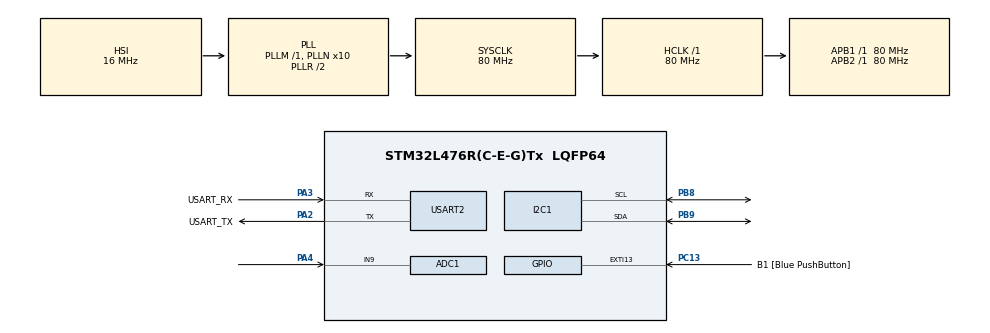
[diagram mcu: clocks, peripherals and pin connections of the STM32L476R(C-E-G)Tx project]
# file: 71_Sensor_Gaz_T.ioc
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ADC1.Channel-0\#ChannelRegularConversion=ADC_CHANNEL_9
ADC1.ContinuousConvMode=ENABLE
ADC1.NbrOfConversionFlag=1
ADC1.OffsetNumber-0\#ChannelRegularConversion=ADC_OFFSET_NONE
ADC1.Rank-0\#ChannelRegularConversion=1
ADC1.SamplingTime-0\#ChannelRegularConversion=ADC_SAMPLETIME_2CYCLES_5
ADC1.master=1
Mcu.Family=STM32L4
Mcu.Name=STM32L476R(C-E-G)Tx
Mcu.Package=LQFP64
NVIC.ADC1_2_IRQn=true\:0\:0\:false\:false\:true\:true
NVIC.PriorityGroup=NVIC_PRIORITYGROUP_4
NVIC.TIM3_IRQn=true\:0\:0\:false\:false\:true\:true
PA13\ (JTMS-SWDIO).GPIO_Label=TMS
PA13\ (JTMS-SWDIO).Mode=Trace_Asynchronous_SW
PA13\ (JTMS-SWDIO).Signal=SYS_JTMS-SWDIO
PA14\ (JTCK-SWCLK).GPIO_Label=TCK
PA14\ (JTCK-SWCLK).Mode=Trace_Asynchronous_SW
PA14\ (JTCK-SWCLK).Signal=SYS_JTCK-SWCLK
PA2.GPIO_Label=USART_TX
PA2.GPIO_Mode=GPIO_MODE_AF_PP
PA2.GPIO_PuPd=GPIO_NOPULL
PA2.GPIO_Speed=GPIO_SPEED_FREQ_VERY_HIGH
PA2.Mode=Asynchronous
PA2.Signal=USART2_TX
PA3.GPIO_Label=USART_RX
PA3.GPIO_Mode=GPIO_MODE_AF_PP
PA3.GPIO_PuPd=GPIO_NOPULL
PA3.GPIO_Speed=GPIO_SPEED_FREQ_VERY_HIGH
PA3.Mode=Asynchronous
PA3.Signal=USART2_RX
PA4.Signal=ADCx_IN9
PB3\ (JTDO-TRACESWO).Mode=Trace_Asynchronous_SW
PB3\ (JTDO-TRACESWO).Signal=SYS_JTDO-SWO
PB8.Mode=I2C
PB8.Signal=I2C1_SCL
PB9.Mode=I2C
PB9.Signal=I2C1_SDA
PC13.GPIO_Label=B1 [Blue PushButton]
PC13.GPIO_ModeDefaultEXTI=GPIO_MODE_IT_FALLING
PC13.GPIO_PuPd=GPIO_NOPULL
PC13.Signal=GPXTI13
PC14-OSC32_IN\ (PC14).Mode=LSE-External-Oscillator
PC14-OSC32_IN\ (PC14).Signal=RCC_OSC32_IN
PC15-OSC32_OUT\ (PC15).Mode=LSE-External-Oscillator
PC15-OSC32_OUT\ (PC15).Signal=RCC_OSC32_OUT
PH0-OSC_IN\ (PH0).Signal=RCC_OSC_IN
PH1-OSC_OUT\ (PH1).Signal=RCC_OSC_OUT
ProjectManager.HeapSize=0x200
ProjectManager.StackSize=0x400
ProjectManager.TargetToolchain=TrueSTUDIO
RCC.ADCFreq_Value=64000000
RCC.AHBFreq_Value=80000000
RCC.APB1Freq_Value=80000000
RCC.APB1TimFreq_Value=80000000
RCC.APB2Freq_Value=80000000
RCC.APB2TimFreq_Value=80000000
RCC.CortexFreq_Value=80000000
RCC.HCLKFreq_Value=80000000
RCC.HSE_VALUE=8000000
RCC.HSI_VALUE=16000000
RCC.MSI_VALUE=4000000
RCC.PLLN=10
RCC.PLLSourceVirtual=RCC_PLLSOURCE_HSI
RCC.PREFETCH_ENABLE=1
RCC.SYSCLKFreq_VALUE=80000000
RCC.SYSCLKSource=RCC_SYSCLKSOURCE_PLLCLK
RCC.USBFreq_Value=64000000
RCC.VCOOutputFreq_Value=160000000
SH.ADCx_IN9.0=ADC1_IN9,IN9-Single-Ended
TIM3.Period=1000
TIM3.Prescaler=35999
USART2.VirtualMode-Asynchronous=VM_ASYNC
VP_TIM3_VS_ClockSourceINT.Mode=Internal
board=NUCLEO-L476RG

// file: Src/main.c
/* USER CODE BEGIN Header */
/**
  ******************************************************************************
  * @file           : main.c
  * @brief          : Main program body
  *
  *   		MQ-135 gaz sensor
  *    Put PA4 <-> D0 //digital
  * 	PA6 <-> A0 //analogue
  * 	GND
  * 	3,3V
  *
  *	    printf : run debug SWV
  * 	Utilisation avec putty; vérifier COM mettre sérial num COM et un nom au pif dans saved sessions, flow control:non; aller dans serial mettre bon COM et bon baud revenir init save
  *	    printf
  *
  *	    add IKSO1A2 : Temperature and Humidity
  *
  ******************************************************************************
  ** This notice applies to any and all portions of this file
  * that are not between comment pairs USER CODE BEGIN and
  * USER CODE END. Other portions of this file, whether
  * inserted by the user or by software development tools
  * are owned by their respective copyright owners.
  *
  * COPYRIGHT(c) 2019 STMicroelectronics
  *
  * Redistribution and use in source and binary forms, with or without modification,
  * are permitted provided that the following conditions are met:
  *   1. Redistributions of source code must retain the above copyright notice,
  *      this list of conditions and the following disclaimer.
  *   2. Redistributions in binary form must reproduce the above copyright notice,
  *      this list of conditions and the following disclaimer in the documentation
  *      and/or other materials provided with the distribution.
  *   3. Neither the name of STMicroelectronics nor the names of its contributors
  *      may be used to endorse or promote products derived from this software
  *      without specific prior written permission.
  *
  * THIS SOFTWARE IS PROVIDED BY THE COPYRIGHT HOLDERS AND CONTRIBUTORS "AS IS"
  * AND ANY EXPRESS OR IMPLIED WARRANTIES, INCLUDING, BUT NOT LIMITED TO, THE
  * IMPLIED WARRANTIES OF MERCHANTABILITY AND FITNESS FOR A PARTICULAR PURPOSE ARE
  * DISCLAIMED. IN NO EVENT SHALL THE COPYRIGHT HOLDER OR CONTRIBUTORS BE LIABLE
  * FOR ANY DIRECT, INDIRECT, INCIDENTAL, SPECIAL, EXEMPLARY, OR CONSEQUENTIAL
  * DAMAGES (INCLUDING, BUT NOT LIMITED TO, PROCUREMENT OF SUBSTITUTE GOODS OR
  * SERVICES; LOSS OF USE, DATA, OR PROFITS; OR BUSINESS INTERRUPTION) HOWEVER
  * CAUSED AND ON ANY THEORY OF LIABILITY, WHETHER IN CONTRACT, STRICT LIABILITY,
  * OR TORT (INCLUDING NEGLIGENCE OR OTHERWISE) ARISING IN ANY WAY OUT OF THE USE
  * OF THIS SOFTWARE, EVEN IF ADVISED OF THE POSSIBILITY OF SUCH DAMAGE.
  *
  ******************************************************************************
  */
/* USER CODE END Header */

#include "main.h"

/* USER CODE BEGIN Includes */
#include <stdio.h>
/* USER CODE END Includes */

/* USER CODE BEGIN PD */
#define I2C_TIMEOUT 1000
/* USER CODE END PD */

ADC_HandleTypeDef hadc1;

I2C_HandleTypeDef hi2c1;

TIM_HandleTypeDef htim3;

UART_HandleTypeDef huart2;

/* USER CODE BEGIN PV */
//ADC for gaz sensor
static  uint16_t valeurADC = 0;

//I2C
uint8_t sub_addr_who_am_i[1]={0x0F}; //Who AM I
uint8_t who_am_i[1]={0x00};

//TEMPERATURE/////////////////////////////////////////////////////////////////////////////////////////////////////

uint8_t addr_T0_degC_x8[1]={0x32};
uint8_t addr_T1_degC_x8[1]={0x33};
uint8_t T0_degC_x8[1];
uint8_t T1_degC_x8[1];
uint16_t T0_degC_DIV8[1];
uint16_t T1_degC_DIV8[1];
uint16_t T0_degC[1];
uint16_t T1_degC[1];

uint8_t addr_T0_T1_msb[1]={0x35};
uint8_t T0_T1_msb[1];
uint8_t T0_msb[1];
uint8_t T1_msb[1];

uint8_t addr_T0_H[1]={0x3D};
uint8_t addr_T0_L[1]={0x3C};
uint8_t T0_H[1];
uint8_t T0_L[1];

uint8_t addr_T1_H[1]={0x3F};
uint8_t addr_T1_L[1]={0x3E};
uint8_t T1_H[1];
uint8_t T1_L[1];

uint8_t addr_T_OUT_H[1]={0x2B};
uint8_t addr_T_OUT_L[1]={0x2A};
uint8_t T_OUT_H[1];
uint8_t T_OUT_L[1];

uint16_t T0_OUT[1];
uint16_t T1_OUT[1];
uint16_t T_OUT[1];

uint8_t addr_CTRL_REG1_TEMP[1]={0x20};
uint8_t CTRL_REG1_TEMP[1]={0x83};

uint16_t temp16[1];

//HUMIDITY////////////////////////////////////////////////////////////////////////////////////////////////////////

uint8_t addr_HUM_H[1]={0x29};
uint8_t addr_HUM_L[1]={0x28};
uint8_t HUM_H[1];
uint8_t HUM_L[1];

uint8_t addr_H0_rH_x2[1]={0x30};
uint8_t addr_H1_rH_x2[1]={0x31};
uint8_t H0_rH_x2[1];
uint8_t H1_rH_x2[1];

uint8_t addr_H0_T0_OUT_L[1]={0x36};
uint8_t addr_H0_T0_OUT_H[1]={0x37};
uint8_t H0_T0_OUT_L[1];
uint8_t H0_T0_OUT_H[1];

uint8_t addr_H1_T0_OUT_L[1]={0x3A};
uint8_t addr_H1_T0_OUT_H[1]={0x3B};
uint8_t H1_T0_OUT_L[1];
uint8_t H1_T0_OUT_H[1];

uint16_t H0_rH[1];
uint16_t H1_rH[1];
uint16_t H0[1];
uint16_t H1[1];
uint16_t H_OUT[1];

uint16_t hum16[1];

//PRESSURE/////////////////////////////////////////////////////////////////////////////////////////////////////////

uint8_t addr_PRES_OUT_XL[1]={0x28};
uint8_t addr_PRES_OUT_L[1]={0x29};
uint8_t addr_PRES_OUT_H[1]={0x2A};

uint8_t addr_REF_P_XL[1]={0x15};
uint8_t addr_REF_P_L[1]={0x16};
uint8_t addr_REF_P_H[1]={0x17};

uint8_t PRES_OUT_XL[1];
uint8_t PRES_OUT_L[1];
uint8_t PRES_OUT_H[1];

uint8_t REF_P_XL[1];
uint8_t REF_P_L[1];
uint8_t REF_P_H[1];

uint32_t PRES_x4096[1];
uint32_t REF_P_x4096[1];

uint8_t addr_CTRL_REG1_PRES[1]={0x10};
uint8_t CTRL_REG1_PRES[1]={0x50};

uint8_t addr_CTRL_REG2_PRES[1]={0x11};
uint8_t CTRL_REG2_PRES[1]={0x01};

uint8_t addr_INTERRUPT_CFG[1]={0x0B};
uint8_t INTERRUPT_CFG[1]={0x30};

uint32_t pres32[1];

uint8_t cpt=0;
/* USER CODE END PV */

void SystemClock_Config(void);
static void MX_GPIO_Init(void);
static void MX_USART2_UART_Init(void);
static void MX_ADC1_Init(void);
static void MX_TIM3_Init(void);
static void MX_I2C1_Init(void);
/* USER CODE BEGIN PFP */
//ADC avec TIM3
void READ_SENSOR_MQ135(void);// Read sensor gaz
void ADC_Init(void); //Read ADC
//I2C
uint16_t est_negatif(uint16_t valeur);
uint16_t concatenate(uint8_t valeur_H, uint8_t valeur_L);
uint16_t div8(uint16_t valeur);
uint16_t div2(uint16_t valeur);
void Who_am_i(void); //Send who_am_i data; must send
void Register(void); //Update data for temperature and humidity
void temperature_IKSO1A2(void);
void humidity_IKSO1A2(void);
void pressure_IKSO1A2(void);
/* USER CODE END PFP */

int main(void)
{

  /* MCU Configuration--------------------------------------------------------*/

  /* Reset of all peripherals, Initializes the Flash interface and the Systick. */
  HAL_Init();

  /* Configure the system clock */
  SystemClock_Config();

  /* Initialize all configured peripherals */
  MX_GPIO_Init();
  MX_USART2_UART_Init();
  MX_ADC1_Init();
  MX_TIM3_Init();
  MX_I2C1_Init();
  /* USER CODE BEGIN 2 */
  printf("\033[2J\033[1;1H"); //Affiche seulement les nouvelles valeurs
  printf("Gas Sensor\r\n");
  Who_am_i(); //send in Decimal:188, Hex:0xbc
 // temperature_IKSO1A2();
  Register();
  ADC_Init();
  //HAL_Delay(10);
  HAL_TIM_Base_Start_IT(&htim3);//Donne base temps -> tous les 5 sec
  /* USER CODE END 2 */

  /* Infinite loop */
  while (1)
  {

  }
}

void SystemClock_Config(void)
{
  RCC_OscInitTypeDef RCC_OscInitStruct = {0};
  RCC_ClkInitTypeDef RCC_ClkInitStruct = {0};
  RCC_PeriphCLKInitTypeDef PeriphClkInit = {0};

  /**Initializes the CPU, AHB and APB busses clocks
  */
  RCC_OscInitStruct.OscillatorType = RCC_OSCILLATORTYPE_HSI;
  RCC_OscInitStruct.HSIState = RCC_HSI_ON;
  RCC_OscInitStruct.HSICalibrationValue = RCC_HSICALIBRATION_DEFAULT;
  RCC_OscInitStruct.PLL.PLLState = RCC_PLL_ON;
  RCC_OscInitStruct.PLL.PLLSource = RCC_PLLSOURCE_HSI;
  RCC_OscInitStruct.PLL.PLLM = 1;
  RCC_OscInitStruct.PLL.PLLN = 10;
  RCC_OscInitStruct.PLL.PLLP = RCC_PLLP_DIV7;
  RCC_OscInitStruct.PLL.PLLQ = RCC_PLLQ_DIV2;
  RCC_OscInitStruct.PLL.PLLR = RCC_PLLR_DIV2;
  if (HAL_RCC_OscConfig(&RCC_OscInitStruct) != HAL_OK)
  {
    Error_Handler();
  }
  /**Initializes the CPU, AHB and APB busses clocks
  */
  RCC_ClkInitStruct.ClockType = RCC_CLOCKTYPE_HCLK|RCC_CLOCKTYPE_SYSCLK
                              |RCC_CLOCKTYPE_PCLK1|RCC_CLOCKTYPE_PCLK2;
  RCC_ClkInitStruct.SYSCLKSource = RCC_SYSCLKSOURCE_PLLCLK;
  RCC_ClkInitStruct.AHBCLKDivider = RCC_SYSCLK_DIV1;
  RCC_ClkInitStruct.APB1CLKDivider = RCC_HCLK_DIV1;
  RCC_ClkInitStruct.APB2CLKDivider = RCC_HCLK_DIV1;

  if (HAL_RCC_ClockConfig(&RCC_ClkInitStruct, FLASH_LATENCY_4) != HAL_OK)
  {
    Error_Handler();
  }
  PeriphClkInit.PeriphClockSelection = RCC_PERIPHCLK_USART2|RCC_PERIPHCLK_I2C1
                              |RCC_PERIPHCLK_ADC;
  PeriphClkInit.Usart2ClockSelection = RCC_USART2CLKSOURCE_PCLK1;
  PeriphClkInit.I2c1ClockSelection = RCC_I2C1CLKSOURCE_PCLK1;
  PeriphClkInit.AdcClockSelection = RCC_ADCCLKSOURCE_PLLSAI1;
  PeriphClkInit.PLLSAI1.PLLSAI1Source = RCC_PLLSOURCE_HSI;
  PeriphClkInit.PLLSAI1.PLLSAI1M = 1;
  PeriphClkInit.PLLSAI1.PLLSAI1N = 8;
  PeriphClkInit.PLLSAI1.PLLSAI1P = RCC_PLLP_DIV7;
  PeriphClkInit.PLLSAI1.PLLSAI1Q = RCC_PLLQ_DIV2;
  PeriphClkInit.PLLSAI1.PLLSAI1R = RCC_PLLR_DIV2;
  PeriphClkInit.PLLSAI1.PLLSAI1ClockOut = RCC_PLLSAI1_ADC1CLK;
  if (HAL_RCCEx_PeriphCLKConfig(&PeriphClkInit) != HAL_OK)
  {
    Error_Handler();
  }
  /**Configure the main internal regulator output voltage
  */
  if (HAL_PWREx_ControlVoltageScaling(PWR_REGULATOR_VOLTAGE_SCALE1) != HAL_OK)
  {
    Error_Handler();
  }
}

static void MX_ADC1_Init(void)
{

  ADC_MultiModeTypeDef multimode = {0};
  ADC_ChannelConfTypeDef sConfig = {0};

  /**Common config
  */
  hadc1.Instance = ADC1;
  hadc1.Init.ClockPrescaler = ADC_CLOCK_ASYNC_DIV1;
  hadc1.Init.Resolution = ADC_RESOLUTION_12B;
  hadc1.Init.DataAlign = ADC_DATAALIGN_RIGHT;
  hadc1.Init.ScanConvMode = ADC_SCAN_DISABLE;
  hadc1.Init.EOCSelection = ADC_EOC_SINGLE_CONV;
  hadc1.Init.LowPowerAutoWait = DISABLE;
  hadc1.Init.ContinuousConvMode = ENABLE;
  hadc1.Init.NbrOfConversion = 1;
  hadc1.Init.DiscontinuousConvMode = DISABLE;
  hadc1.Init.ExternalTrigConv = ADC_SOFTWARE_START;
  hadc1.Init.ExternalTrigConvEdge = ADC_EXTERNALTRIGCONVEDGE_NONE;
  hadc1.Init.DMAContinuousRequests = DISABLE;
  hadc1.Init.Overrun = ADC_OVR_DATA_PRESERVED;
  hadc1.Init.OversamplingMode = DISABLE;
  if (HAL_ADC_Init(&hadc1) != HAL_OK)
  {
    Error_Handler();
  }
  /**Configure the ADC multi-mode
  */
  multimode.Mode = ADC_MODE_INDEPENDENT;
  if (HAL_ADCEx_MultiModeConfigChannel(&hadc1, &multimode) != HAL_OK)
  {
    Error_Handler();
  }
  /**Configure Regular Channel
  */
  sConfig.Channel = ADC_CHANNEL_9;
  sConfig.Rank = ADC_REGULAR_RANK_1;
  sConfig.SamplingTime = ADC_SAMPLETIME_2CYCLES_5;
  sConfig.SingleDiff = ADC_SINGLE_ENDED;
  sConfig.OffsetNumber = ADC_OFFSET_NONE;
  sConfig.Offset = 0;
  if (HAL_ADC_ConfigChannel(&hadc1, &sConfig) != HAL_OK)
  {
    Error_Handler();
  }

}

static void MX_I2C1_Init(void)
{

  hi2c1.Instance = I2C1;
  hi2c1.Init.Timing = 0x10909CEC;
  hi2c1.Init.OwnAddress1 = 0;
  hi2c1.Init.AddressingMode = I2C_ADDRESSINGMODE_7BIT;
  hi2c1.Init.DualAddressMode = I2C_DUALADDRESS_DISABLE;
  hi2c1.Init.OwnAddress2 = 0;
  hi2c1.Init.OwnAddress2Masks = I2C_OA2_NOMASK;
  hi2c1.Init.GeneralCallMode = I2C_GENERALCALL_DISABLE;
  hi2c1.Init.NoStretchMode = I2C_NOSTRETCH_DISABLE;
  if (HAL_I2C_Init(&hi2c1) != HAL_OK)
  {
    Error_Handler();
  }
  /**Configure Analogue filter
  */
  if (HAL_I2CEx_ConfigAnalogFilter(&hi2c1, I2C_ANALOGFILTER_ENABLE) != HAL_OK)
  {
    Error_Handler();
  }
  /**Configure Digital filter
  */
  if (HAL_I2CEx_ConfigDigitalFilter(&hi2c1, 0) != HAL_OK)
  {
    Error_Handler();
  }

}

static void MX_TIM3_Init(void)
{

  TIM_ClockConfigTypeDef sClockSourceConfig = {0};
  TIM_MasterConfigTypeDef sMasterConfig = {0};

  htim3.Instance = TIM3;
  htim3.Init.Prescaler = 35999;
  htim3.Init.CounterMode = TIM_COUNTERMODE_UP;
  htim3.Init.Period = 1000;
  htim3.Init.ClockDivision = TIM_CLOCKDIVISION_DIV1;
  htim3.Init.AutoReloadPreload = TIM_AUTORELOAD_PRELOAD_DISABLE;
  if (HAL_TIM_Base_Init(&htim3) != HAL_OK)
  {
    Error_Handler();
  }
  sClockSourceConfig.ClockSource = TIM_CLOCKSOURCE_INTERNAL;
  if (HAL_TIM_ConfigClockSource(&htim3, &sClockSourceConfig) != HAL_OK)
  {
    Error_Handler();
  }
  sMasterConfig.MasterOutputTrigger = TIM_TRGO_RESET;
  sMasterConfig.MasterSlaveMode = TIM_MASTERSLAVEMODE_DISABLE;
  if (HAL_TIMEx_MasterConfigSynchronization(&htim3, &sMasterConfig) != HAL_OK)
  {
    Error_Handler();
  }

}

static void MX_USART2_UART_Init(void)
{

  huart2.Instance = USART2;
  huart2.Init.BaudRate = 115200;
  huart2.Init.WordLength = UART_WORDLENGTH_8B;
  huart2.Init.StopBits = UART_STOPBITS_1;
  huart2.Init.Parity = UART_PARITY_NONE;
  huart2.Init.Mode = UART_MODE_TX_RX;
  huart2.Init.HwFlowCtl = UART_HWCONTROL_NONE;
  huart2.Init.OverSampling = UART_OVERSAMPLING_16;
  huart2.Init.OneBitSampling = UART_ONE_BIT_SAMPLE_DISABLE;
  huart2.AdvancedInit.AdvFeatureInit = UART_ADVFEATURE_NO_INIT;
  if (HAL_UART_Init(&huart2) != HAL_OK)
  {
    Error_Handler();
  }

}

static void MX_GPIO_Init(void)
{
  GPIO_InitTypeDef GPIO_InitStruct = {0};

  /* GPIO Ports Clock Enable */
  __HAL_RCC_GPIOC_CLK_ENABLE();
  __HAL_RCC_GPIOH_CLK_ENABLE();
  __HAL_RCC_GPIOA_CLK_ENABLE();
  __HAL_RCC_GPIOB_CLK_ENABLE();
  __HAL_RCC_GPIOD_CLK_ENABLE();

  /*Configure GPIO pin : B1_Pin */
  GPIO_InitStruct.Pin = B1_Pin;
  GPIO_InitStruct.Mode = GPIO_MODE_IT_FALLING;
  GPIO_InitStruct.Pull = GPIO_NOPULL;
  HAL_GPIO_Init(B1_GPIO_Port, &GPIO_InitStruct);

  /*Configure GPIO pins : PC0 PC1 PC2 PC3
                           PC4 PC5 PC6 PC7
                           PC8 PC9 PC10 PC11
                           PC12 */
  GPIO_InitStruct.Pin = GPIO_PIN_0|GPIO_PIN_1|GPIO_PIN_2|GPIO_PIN_3
                          |GPIO_PIN_4|GPIO_PIN_5|GPIO_PIN_6|GPIO_PIN_7
                          |GPIO_PIN_8|GPIO_PIN_9|GPIO_PIN_10|GPIO_PIN_11
                          |GPIO_PIN_12;
  GPIO_InitStruct.Mode = GPIO_MODE_ANALOG;
  GPIO_InitStruct.Pull = GPIO_NOPULL;
  HAL_GPIO_Init(GPIOC, &GPIO_InitStruct);

  /*Configure GPIO pins : PA0 PA1 PA5 PA6
                           PA7 PA8 PA9 PA10
                           PA11 PA12 PA15 */
  GPIO_InitStruct.Pin = GPIO_PIN_0|GPIO_PIN_1|GPIO_PIN_5|GPIO_PIN_6
                          |GPIO_PIN_7|GPIO_PIN_8|GPIO_PIN_9|GPIO_PIN_10
                          |GPIO_PIN_11|GPIO_PIN_12|GPIO_PIN_15;
  GPIO_InitStruct.Mode = GPIO_MODE_ANALOG;
  GPIO_InitStruct.Pull = GPIO_NOPULL;
  HAL_GPIO_Init(GPIOA, &GPIO_InitStruct);

  /*Configure GPIO pins : PB0 PB1 PB2 PB10
                           PB11 PB12 PB13 PB14
                           PB15 PB4 PB5 PB6
                           PB7 */
  GPIO_InitStruct.Pin = GPIO_PIN_0|GPIO_PIN_1|GPIO_PIN_2|GPIO_PIN_10
                          |GPIO_PIN_11|GPIO_PIN_12|GPIO_PIN_13|GPIO_PIN_14
                          |GPIO_PIN_15|GPIO_PIN_4|GPIO_PIN_5|GPIO_PIN_6
                          |GPIO_PIN_7;
  GPIO_InitStruct.Mode = GPIO_MODE_ANALOG;
  GPIO_InitStruct.Pull = GPIO_NOPULL;
  HAL_GPIO_Init(GPIOB, &GPIO_InitStruct);

  /*Configure GPIO pin : PD2 */
  GPIO_InitStruct.Pin = GPIO_PIN_2;
  GPIO_InitStruct.Mode = GPIO_MODE_ANALOG;
  GPIO_InitStruct.Pull = GPIO_NOPULL;
  HAL_GPIO_Init(GPIOD, &GPIO_InitStruct);

}

/* USER CODE BEGIN 4 */

//printf
int _write(int file,char *ptr, int len)
{
    HAL_UART_Transmit(&huart2,(uint8_t *)ptr,len,10);
    return len;
}
//ADC
void HAL_ADC_ConvCpltCallback(ADC_HandleTypeDef* AdcHandle) //Récupérer la valeur de l'ADC une fois l’IT acquittée
{
	if( cpt %4 == 0 )
	{
	valeurADC = HAL_ADC_GetValue(AdcHandle);
	}
	if (cpt %3 == 0)
	{
		temperature_IKSO1A2();
	}
	if (cpt %2 == 0)
	{
		humidity_IKSO1A2();
	}
	if (cpt %1 == 0)
	{
		pressure_IKSO1A2();
	}
	cpt++;
}

void HAL_TIM_PeriodElapsedCallback(TIM_HandleTypeDef *htim)
{
	READ_SENSOR_MQ135();
	HAL_ADC_Start_IT(&hadc1);
}
void ADC_Init() //Lancer l'ADC
{
	if (HAL_ADC_Start_IT(&hadc1)!= HAL_OK)
	{
		Error_Handler();
	}
}
void READ_SENSOR_MQ135()
{
	printf("ta mere");
	printf("SENSOR CO2 : %d\r\n", valeurADC);
}

//I2C
uint16_t est_negatif(uint16_t valeur){
if (valeur>=0x8000){
		valeur=~valeur+1;
	}
return valeur;
}

uint16_t concatenate(uint8_t valeur_H, uint8_t valeur_L){
	uint16_t valeur = (valeur_H<<8) + valeur_L;
	return valeur;
}

uint16_t div8(uint16_t valeur){
	uint16_t result = (valeur>>3);
	return result;
}

uint16_t div2(uint16_t valeur){
	uint16_t result = (valeur>>1);
	return result;
}

void Who_am_i()
{
	  HAL_I2C_Mem_Read(&hi2c1,0xBF, sub_addr_who_am_i[0], 1, who_am_i, 1, I2C_TIMEOUT);
	  printf("Who AM I : %d", who_am_i[0]);
	  printf("apricot");
	  printf("Who AM I : %u", who_am_i[0]);

}
void Register()
{
	//Temperature & humidity
	HAL_I2C_Mem_Write(&hi2c1,0xBE, addr_CTRL_REG1_TEMP[0], 1, CTRL_REG1_TEMP, 1, I2C_TIMEOUT);
	//PRESSURE
	HAL_I2C_Mem_Write(&hi2c1,0xBA, addr_CTRL_REG1_PRES[0], 1, CTRL_REG1_PRES, 1, I2C_TIMEOUT);

	HAL_I2C_Mem_Write(&hi2c1,0xBA, addr_CTRL_REG2_PRES[0], 1, CTRL_REG2_PRES, 1, I2C_TIMEOUT);

	HAL_I2C_Mem_Write(&hi2c1,0xBA, addr_INTERRUPT_CFG[0], 1, INTERRUPT_CFG, 1, I2C_TIMEOUT);

}
//Temperature
void temperature_IKSO1A2()
{
		HAL_I2C_Mem_Read(&hi2c1,0xBF, addr_T0_degC_x8[0], 1, T0_degC_x8, 1, I2C_TIMEOUT);
		HAL_I2C_Mem_Read(&hi2c1,0xBF, addr_T1_degC_x8[0], 1, T1_degC_x8, 1, I2C_TIMEOUT);
		HAL_I2C_Mem_Read(&hi2c1,0xBF, addr_T0_T1_msb[0], 1, T0_T1_msb, 1, I2C_TIMEOUT);
		HAL_I2C_Mem_Read(&hi2c1,0xBF, addr_T0_H[0], 1, T0_H, 1, I2C_TIMEOUT);
		HAL_I2C_Mem_Read(&hi2c1,0xBF, addr_T0_H[0], 1, T0_H, 1, I2C_TIMEOUT);
		HAL_I2C_Mem_Read(&hi2c1,0xBF, addr_T0_L[0], 1, T0_L, 1, I2C_TIMEOUT);
		HAL_I2C_Mem_Read(&hi2c1,0xBF, addr_T1_H[0], 1, T1_H, 1, I2C_TIMEOUT);
		HAL_I2C_Mem_Read(&hi2c1,0xBF, addr_T1_L[0], 1, T1_L, 1, I2C_TIMEOUT);
		HAL_I2C_Mem_Read(&hi2c1,0xBF, addr_T_OUT_H[0], 1, T_OUT_H, 1, I2C_TIMEOUT);
		HAL_I2C_Mem_Read(&hi2c1,0xBF, addr_T_OUT_L[0], 1, T_OUT_L, 1, I2C_TIMEOUT);
		HAL_I2C_Mem_Read(&hi2c1,0xBF, addr_T_OUT_L[0], 1, T_OUT_L, 1, I2C_TIMEOUT);

		//CONCATENATION
		T0_OUT[0]	= (T0_H[0]<<8) + T0_L[0];
		T1_OUT[0]	= (T1_H[0]<<8) + T1_L[0];
		T_OUT[0]	= (T_OUT_H[0]<<8) + T_OUT_L[0];

		//GESTION VALEURS NEGATIVES
		est_negatif(T0_OUT[0]);
		est_negatif(T1_OUT[0]);
		est_negatif(T_OUT[0]);

		//CALCUL DES T0_degC ET T1_degC FINALES
		T0_msb[0]		= T0_T1_msb[0] & 0x3;
		T1_msb[0]		= (T0_T1_msb[0] & 0xC)>>2;
		T0_degC[0] 		= (T0_msb[0]<<8) + T0_degC_x8[0];
		T1_degC[0] 		= (T1_msb[0]<<8) + T1_degC_x8[0];
		T0_degC_DIV8[0]	= T0_degC[0]>>3;
		T1_degC_DIV8[0]	= T1_degC[0]>>3;

		//CALCUL DE LA TEMPERATURE
		temp16[0] = ((int16_t)(T_OUT[0]-T0_OUT[0]))*10*((int16_t)(T1_degC_DIV8[0]-T0_degC_DIV8[0]))/((int16_t)(T1_OUT[0]-T0_OUT[0]))+(int16_t)(T0_degC_DIV8[0])*10;

	//  printf("Temperature :%d", temp16[0]);
}
//Humidity
void humidity_IKSO1A2()
{
	    HAL_I2C_Mem_Read(&hi2c1,0xBF, addr_HUM_H[0], 1, HUM_H, 1, I2C_TIMEOUT);
		HAL_I2C_Mem_Read(&hi2c1,0xBF, addr_HUM_L[0], 1, HUM_L, 1, I2C_TIMEOUT);
		HAL_I2C_Mem_Read(&hi2c1,0xBF, addr_H0_rH_x2[0], 1, H0_rH_x2, 1, I2C_TIMEOUT);
		HAL_I2C_Mem_Read(&hi2c1,0xBF, addr_H1_rH_x2[0], 1, H0_rH_x2, 1, I2C_TIMEOUT);
		HAL_I2C_Mem_Read(&hi2c1,0xBF, addr_H0_T0_OUT_H[0], 1, H0_T0_OUT_H, 1, I2C_TIMEOUT);
		HAL_I2C_Mem_Read(&hi2c1,0xBF, addr_H0_T0_OUT_L[0], 1, H0_T0_OUT_L, 1, I2C_TIMEOUT);
		HAL_I2C_Mem_Read(&hi2c1,0xBF, addr_H1_T0_OUT_H[0], 1, H1_T0_OUT_H, 1, I2C_TIMEOUT);
		HAL_I2C_Mem_Read(&hi2c1,0xBF, addr_H1_T0_OUT_L[0], 1, H1_T0_OUT_L, 1, I2C_TIMEOUT);

		H0_rH[0]	= H0_rH_x2[0]>>1;
		H1_rH[0]	= H1_rH_x2[0]>>1;

		H0[0]		= (H0_T0_OUT_H[0]<<8) + H0_T0_OUT_L[0];
		H1[0]		= (H1_T0_OUT_H[0]<<8) + H1_T0_OUT_L[0];
		H_OUT[0]	= (HUM_H[0]<<8) + HUM_L[0];

		//CALCUL DE L'HUMIDITE
		hum16[0] = ((int16_t)(H1_rH[0]-H0_rH[0]))*((int16_t)(H_OUT[0]-H0[0]))/((int16_t)(H1[0]-H0[0]))+(int16_t)(H0_rH[0]);
}
//PRESSURE
void pressure_IKSO1A2()
{
	    HAL_I2C_Mem_Read(&hi2c1,0xBB, addr_REF_P_XL[0], 1, REF_P_XL, 1, I2C_TIMEOUT);
		HAL_I2C_Mem_Read(&hi2c1,0xBB, addr_REF_P_L[0], 1, REF_P_L, 1, I2C_TIMEOUT);
		HAL_I2C_Mem_Read(&hi2c1,0xBB, addr_REF_P_H[0], 1, REF_P_H, 1, I2C_TIMEOUT);
		HAL_I2C_Mem_Read(&hi2c1,0xBB, addr_PRES_OUT_XL[0], 1, PRES_OUT_XL, 1, I2C_TIMEOUT);
		HAL_I2C_Mem_Read(&hi2c1,0xBB, addr_PRES_OUT_L[0], 1, PRES_OUT_L, 1, I2C_TIMEOUT);
		HAL_I2C_Mem_Read(&hi2c1,0xBB, addr_PRES_OUT_H[0], 1, PRES_OUT_H, 1, I2C_TIMEOUT);

		//CONCATENATION

		PRES_x4096[0]	= (PRES_OUT_H[0]<<16) + (PRES_OUT_L[0]<<8) + PRES_OUT_XL[0];
		REF_P_x4096[0]	= (REF_P_H[0]<<16) + (REF_P_L[0]<<8) + REF_P_XL[0];

		//CALCUL DE LA PRESSION
		pres32[0] = (REF_P_x4096[0])>>12;
}
/* USER CODE END 4 */

void Error_Handler(void)
{
}

/************************ (C) COPYRIGHT STMicroelectronics *****END OF FILE****/
